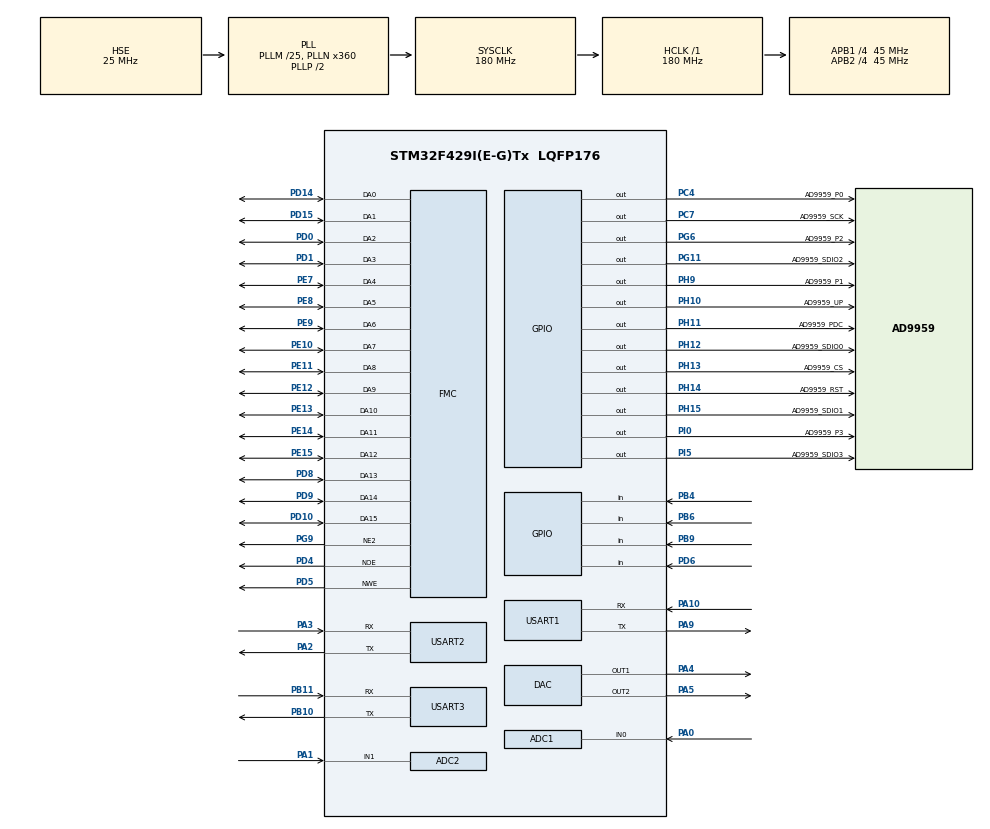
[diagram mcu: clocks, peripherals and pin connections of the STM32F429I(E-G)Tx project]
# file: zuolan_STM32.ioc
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ADC1.Channel-0\#ChannelRegularConversion=ADC_CHANNEL_0
ADC1.DMAAccessMode=ADC_DMAACCESSMODE_2
ADC1.DMAContinuousRequests=ENABLE
ADC1.ExternalTrigConv=ADC_EXTERNALTRIGCONV_T2_TRGO
ADC1.Mode=ADC_DUALMODE_REGSIMULT
ADC1.NbrOfConversionFlag=1
ADC1.Rank-0\#ChannelRegularConversion=1
ADC1.SamplingTime-0\#ChannelRegularConversion=ADC_SAMPLETIME_3CYCLES
ADC1.master=1
ADC2.Channel-0\#ChannelRegularConversion=ADC_CHANNEL_1
ADC2.DMAAccessMode=ADC_DMAACCESSMODE_2
ADC2.Mode=ADC_DUALMODE_REGSIMULT
ADC2.NbrOfConversionFlag=1
ADC2.Rank-0\#ChannelRegularConversion=1
ADC2.SamplingTime-0\#ChannelRegularConversion=ADC_SAMPLETIME_3CYCLES
DAC.DAC_OutputBuffer=DAC_OUTPUTBUFFER_ENABLE
DAC.DAC_OutputBuffer2=DAC_OUTPUTBUFFER_ENABLE
Dma.ADC1.0.Direction=DMA_PERIPH_TO_MEMORY
Dma.ADC1.0.FIFOMode=DMA_FIFOMODE_DISABLE
Dma.ADC1.0.Instance=DMA2_Stream0
Dma.ADC1.0.MemDataAlignment=DMA_MDATAALIGN_WORD
Dma.ADC1.0.MemInc=DMA_MINC_ENABLE
Dma.ADC1.0.Mode=DMA_NORMAL
Dma.ADC1.0.PeriphDataAlignment=DMA_PDATAALIGN_WORD
Dma.ADC1.0.PeriphInc=DMA_PINC_DISABLE
Dma.ADC1.0.Priority=DMA_PRIORITY_LOW
Dma.Request0=ADC1
FMC.AddressHoldTime2=1
FMC.AddressSetupTime2=3
FMC.BusTurnAroundDuration2=0
FMC.DataSetupTime2=6
FMC.WriteOperation2=FMC_WRITE_OPERATION_ENABLE
Mcu.Family=STM32F4
Mcu.Name=STM32F429I(E-G)Tx
Mcu.Package=LQFP176
NVIC.DMA2_Stream0_IRQn=true\:0\:0\:false\:false\:true\:false\:true
NVIC.PriorityGroup=NVIC_PRIORITYGROUP_4
NVIC.USART1_IRQn=true\:0\:0\:false\:false\:true\:true\:true
NVIC.USART2_IRQn=true\:0\:0\:false\:false\:true\:true\:true
NVIC.USART3_IRQn=true\:0\:0\:false\:false\:true\:true\:true
PA0/WKUP.Signal=ADCx_IN0
PA1.Signal=ADCx_IN1
PA10.Mode=Asynchronous
PA10.Signal=USART1_RX
PA13.Mode=Serial_Wire
PA13.Signal=SYS_JTMS-SWDIO
PA14.Mode=Serial_Wire
PA14.Signal=SYS_JTCK-SWCLK
PA2.Mode=Asynchronous
PA2.Signal=USART2_TX
PA3.Mode=Asynchronous
PA3.Signal=USART2_RX
PA4.Signal=COMP_DAC1_group
PA5.Signal=COMP_DAC2_group
PA9.Mode=Asynchronous
PA9.Signal=USART1_TX
PB10.Mode=Asynchronous
PB10.Signal=USART3_TX
PB11.Mode=Asynchronous
PB11.Signal=USART3_RX
PB4.GPIO_PuPd=GPIO_PULLUP
PB4.Signal=GPIO_Input
PB6.GPIO_PuPd=GPIO_PULLUP
PB6.Signal=GPIO_Input
PB7.Signal=FMC_NL
PB9.GPIO_PuPd=GPIO_PULLUP
PB9.Signal=GPIO_Input
PC4.GPIO_Label=AD9959_P0
PC4.GPIO_PuPd=GPIO_PULLUP
PC4.GPIO_Speed=GPIO_SPEED_FREQ_HIGH
PC4.Signal=GPIO_Output
PC7.GPIO_Label=AD9959_SCK
PC7.GPIO_PuPd=GPIO_PULLUP
PC7.GPIO_Speed=GPIO_SPEED_FREQ_HIGH
PC7.Signal=GPIO_Output
PD0.Signal=FMC_D2_DA2
PD1.Signal=FMC_D3_DA3
PD10.Signal=FMC_D15_DA15
PD14.Signal=FMC_D0_DA0
PD15.Signal=FMC_D1_DA1
PD4.Signal=FMC_NOE
PD5.Signal=FMC_NWE
PD6.GPIO_PuPd=GPIO_PULLUP
PD6.Signal=GPIO_Input
PD8.Signal=FMC_D13_DA13
PD9.Signal=FMC_D14_DA14
PE10.Signal=FMC_D7_DA7
PE11.Signal=FMC_D8_DA8
PE12.Signal=FMC_D9_DA9
PE13.Signal=FMC_D10_DA10
PE14.Signal=FMC_D11_DA11
PE15.Signal=FMC_D12_DA12
PE7.Signal=FMC_D4_DA4
PE8.Signal=FMC_D5_DA5
PE9.Signal=FMC_D6_DA6
PG11.GPIO_Label=AD9959_SDIO2
PG11.GPIO_PuPd=GPIO_PULLUP
PG11.GPIO_Speed=GPIO_SPEED_FREQ_HIGH
PG11.Signal=GPIO_Output
PG6.GPIO_Label=AD9959_P2
PG6.GPIO_PuPd=GPIO_PULLUP
PG6.GPIO_Speed=GPIO_SPEED_FREQ_HIGH
PG6.Signal=GPIO_Output
PG9.Mode=NorPsramChipSelect2_2
PG9.Signal=FMC_NE2
PH0/OSC_IN.Mode=HSE-External-Oscillator
PH0/OSC_IN.Signal=RCC_OSC_IN
PH1/OSC_OUT.Mode=HSE-External-Oscillator
PH1/OSC_OUT.Signal=RCC_OSC_OUT
PH10.GPIO_Label=AD9959_UP
PH10.GPIO_PuPd=GPIO_PULLUP
PH10.GPIO_Speed=GPIO_SPEED_FREQ_HIGH
PH10.Signal=GPIO_Output
PH11.GPIO_Label=AD9959_PDC
PH11.GPIO_PuPd=GPIO_PULLUP
PH11.GPIO_Speed=GPIO_SPEED_FREQ_HIGH
PH11.Signal=GPIO_Output
PH12.GPIO_Label=AD9959_SDIO0
PH12.GPIO_PuPd=GPIO_PULLUP
PH12.GPIO_Speed=GPIO_SPEED_FREQ_HIGH
PH12.Signal=GPIO_Output
PH13.GPIO_Label=AD9959_CS
PH13.GPIO_ModeDefaultOutputPP=GPIO_MODE_OUTPUT_PP
PH13.GPIO_PuPd=GPIO_PULLUP
PH13.GPIO_Speed=GPIO_SPEED_FREQ_HIGH
PH13.PinState=GPIO_PIN_RESET
PH13.Signal=GPIO_Output
PH14.GPIO_Label=AD9959_RST
PH14.GPIO_PuPd=GPIO_PULLUP
PH14.GPIO_Speed=GPIO_SPEED_FREQ_HIGH
PH14.Signal=GPIO_Output
PH15.GPIO_Label=AD9959_SDIO1
PH15.GPIO_PuPd=GPIO_PULLUP
PH15.GPIO_Speed=GPIO_SPEED_FREQ_HIGH
PH15.Signal=GPIO_Output
PH9.GPIO_Label=AD9959_P1
PH9.GPIO_PuPd=GPIO_PULLUP
PH9.GPIO_Speed=GPIO_SPEED_FREQ_HIGH
PH9.Signal=GPIO_Output
PI0.GPIO_Label=AD9959_P3
PI0.GPIO_PuPd=GPIO_PULLUP
PI0.GPIO_Speed=GPIO_SPEED_FREQ_HIGH
PI0.Signal=GPIO_Output
PI5.GPIO_Label=AD9959_SDIO3
PI5.GPIO_PuPd=GPIO_PULLUP
PI5.GPIO_Speed=GPIO_SPEED_FREQ_HIGH
PI5.Signal=GPIO_Output
ProjectManager.HeapSize=0x200
ProjectManager.StackSize=0x400
ProjectManager.TargetToolchain=MDK-ARM V5
RCC.48MHZClocksFreq_Value=90000000
RCC.AHBFreq_Value=180000000
RCC.APB1CLKDivider=RCC_HCLK_DIV4
RCC.APB1Freq_Value=45000000
RCC.APB1TimFreq_Value=90000000
RCC.APB2CLKDivider=RCC_HCLK_DIV4
RCC.APB2Freq_Value=45000000
RCC.APB2TimFreq_Value=90000000
RCC.CortexFreq_Value=180000000
RCC.EnbaleCSS=true
RCC.HCLKFreq_Value=180000000
RCC.HSE_VALUE=25000000
RCC.HSI_VALUE=16000000
RCC.LSE_VALUE=32768
RCC.PLLM=25
RCC.PLLN=360
RCC.PLLSourceVirtual=RCC_PLLSOURCE_HSE
RCC.SYSCLKFreq_VALUE=180000000
RCC.SYSCLKSource=RCC_SYSCLKSOURCE_PLLCLK
RCC.VCOOutputFreq_Value=360000000
SH.ADCx_IN0.0=ADC1_IN0,IN0
SH.ADCx_IN1.0=ADC2_IN1,IN1
SH.COMP_DAC1_group.0=DAC_OUT1,DAC_OUT1
SH.COMP_DAC2_group.0=DAC_OUT2,DAC_OUT2
SH.FMC_D0_DA0.0=FMC_DA0,16b-da2
SH.FMC_D10_DA10.0=FMC_DA10,16b-da2
SH.FMC_D11_DA11.0=FMC_DA11,16b-da2
SH.FMC_D12_DA12.0=FMC_DA12,16b-da2
SH.FMC_D13_DA13.0=FMC_DA13,16b-da2
SH.FMC_D14_DA14.0=FMC_DA14,16b-da2
SH.FMC_D15_DA15.0=FMC_DA15,16b-da2
SH.FMC_D1_DA1.0=FMC_DA1,16b-da2
SH.FMC_D2_DA2.0=FMC_DA2,16b-da2
SH.FMC_D3_DA3.0=FMC_DA3,16b-da2
SH.FMC_D4_DA4.0=FMC_DA4,16b-da2
SH.FMC_D5_DA5.0=FMC_DA5,16b-da2
SH.FMC_D6_DA6.0=FMC_DA6,16b-da2
SH.FMC_D7_DA7.0=FMC_DA7,16b-da2
SH.FMC_D8_DA8.0=FMC_DA8,16b-da2
SH.FMC_D9_DA9.0=FMC_DA9,16b-da2
SH.FMC_NL.0=FMC_NL
SH.FMC_NOE.0=FMC_NOE,MuxedPsram2
SH.FMC_NWE.0=FMC_NWE,MuxedPsram2
STMicroelectronics.X-CUBE-ALGOBUILD.1.4.0.LibraryCcDSPOoLibraryJjDSPOoLibrary=true
TIM2.Period=60-1
TIM2.Prescaler=0
TIM2.TIM_MasterOutputTrigger=TIM_TRGO_UPDATE
USART1.VirtualMode=VM_ASYNC
USART2.VirtualMode=VM_ASYNC
USART3.VirtualMode=VM_ASYNC
VP_TIM2_VS_ClockSourceINT.Mode=Internal
board=custom

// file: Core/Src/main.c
/* USER CODE BEGIN Header */
/**
 ******************************************************************************
 * @file           : main.c
 * @brief          : Main program body
 ******************************************************************************
 * @attention
 *
 * Copyright (c) 2024 STMicroelectronics.
 * All rights reserved.
 *
 * This software is licensed under terms that can be found in the LICENSE file
 * in the root directory of this software component.
 * If no LICENSE file comes with this software, it is provided AS-IS.
 *
 ******************************************************************************
 */
/* USER CODE END Header */
#include "main.h"
#include "adc.h"
#include "dac.h"
#include "dma.h"
#include "tim.h"
#include "usart.h"
#include "gpio.h"
#include "fmc.h"

/* USER CODE BEGIN Includes */

#include "bsp_system.h"
/* USER CODE END Includes */

/* USER CODE BEGIN PTD */
extern uint32_t adc_buffer[1024];

/* USER CODE END PTD */

void SystemClock_Config(void);

int main(void)
{

  /* MCU Configuration--------------------------------------------------------*/

  /* Reset of all peripherals, Initializes the Flash interface and the Systick. */
  HAL_Init();

  /* Configure the system clock */
  SystemClock_Config();

  /* Initialize all configured peripherals */
  MX_GPIO_Init();
  MX_DMA_Init();
  MX_FMC_Init();
  MX_USART1_UART_Init();
  MX_USART2_UART_Init();
  MX_USART3_UART_Init();
  MX_DAC_Init();
  MX_ADC2_Init();
  MX_ADC1_Init();
  MX_TIM2_Init();
  /* USER CODE BEGIN 2 */
  HAL_UART_Receive_IT(&huart1, &rxTemp1, 1);
  HAL_UART_Receive_IT(&huart2, &rxTemp2, 1);
  HAL_UART_Receive_IT(&huart3, &rxTemp3, 1);
	CTRL_INIT();
	DA_Init();
  DA_Apply_Settings();
	PID_Init();
	fft_init(); // FFT模块初始�?
	//AD9959_Init();
  my_printf(&huart1,"ok!\r\n");
  HAL_ADC_Start(&hadc2);
	HAL_ADCEx_MultiModeStart_DMA(&hadc1,adc_buffer,1024);
	HAL_TIM_Base_Start(&htim2);

	scheduler_init();
  /* USER CODE END 2 */

  /* Infinite loop */
  while (1)
  {

    /* USER CODE BEGIN 3 */

		scheduler_run();

  }
  /* USER CODE END 3 */
}

void SystemClock_Config(void)
{
  RCC_OscInitTypeDef RCC_OscInitStruct = {0};
  RCC_ClkInitTypeDef RCC_ClkInitStruct = {0};

  /** Configure the main internal regulator output voltage
  */
  __HAL_RCC_PWR_CLK_ENABLE();
  __HAL_PWR_VOLTAGESCALING_CONFIG(PWR_REGULATOR_VOLTAGE_SCALE1);
  /** Initializes the RCC Oscillators according to the specified parameters
  * in the RCC_OscInitTypeDef structure.
  */
  RCC_OscInitStruct.OscillatorType = RCC_OSCILLATORTYPE_HSE;
  RCC_OscInitStruct.HSEState = RCC_HSE_ON;
  RCC_OscInitStruct.PLL.PLLState = RCC_PLL_ON;
  RCC_OscInitStruct.PLL.PLLSource = RCC_PLLSOURCE_HSE;
  RCC_OscInitStruct.PLL.PLLM = 25;
  RCC_OscInitStruct.PLL.PLLN = 360;
  RCC_OscInitStruct.PLL.PLLP = RCC_PLLP_DIV2;
  RCC_OscInitStruct.PLL.PLLQ = 4;
  if (HAL_RCC_OscConfig(&RCC_OscInitStruct) != HAL_OK)
  {
    Error_Handler();
  }
  /** Activate the Over-Drive mode
  */
  if (HAL_PWREx_EnableOverDrive() != HAL_OK)
  {
    Error_Handler();
  }
  /** Initializes the CPU, AHB and APB buses clocks
  */
  RCC_ClkInitStruct.ClockType = RCC_CLOCKTYPE_HCLK|RCC_CLOCKTYPE_SYSCLK
                              |RCC_CLOCKTYPE_PCLK1|RCC_CLOCKTYPE_PCLK2;
  RCC_ClkInitStruct.SYSCLKSource = RCC_SYSCLKSOURCE_PLLCLK;
  RCC_ClkInitStruct.AHBCLKDivider = RCC_SYSCLK_DIV1;
  RCC_ClkInitStruct.APB1CLKDivider = RCC_HCLK_DIV4;
  RCC_ClkInitStruct.APB2CLKDivider = RCC_HCLK_DIV4;

  if (HAL_RCC_ClockConfig(&RCC_ClkInitStruct, FLASH_LATENCY_5) != HAL_OK)
  {
    Error_Handler();
  }
  /** Enables the Clock Security System
  */
  HAL_RCC_EnableCSS();
}

void Error_Handler(void)
{
  __disable_irq();
  while (1)
  {
  }
}

/************************ (C) COPYRIGHT STMicroelectronics *****END OF FILE****/
